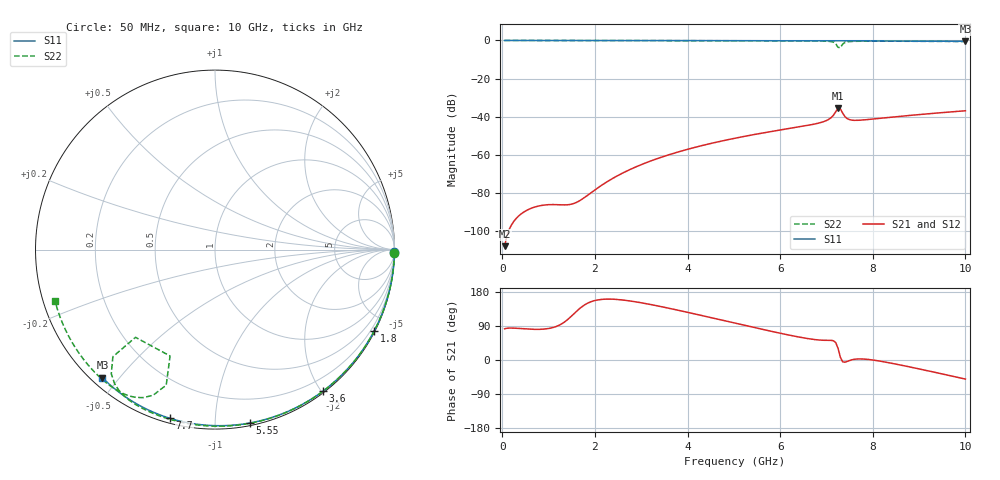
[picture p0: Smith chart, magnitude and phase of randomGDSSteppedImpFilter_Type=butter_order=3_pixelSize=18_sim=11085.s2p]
! freq	dB(S11)	phase(S11)	dB(S12)	phase(S12)
!  dB(S21)	phase(S21)	dB(S22)	phase(S22)
!S-par simulation data
#  GHz  S  DB  R 50
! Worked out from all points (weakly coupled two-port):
!   200 points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, 50 MHz to 10 GHz, reference 50 ohm
!   highest |S21| = -35.66 dB at 7.25 GHz (marker M1); lowest = -108.1 dB at 50 MHz (marker M2)
!   lowest |S11| = -0.4 dB at 10 GHz (marker M3), VSWR 39.24, Z = 1.53 - j22.6 ohm
!   |S11| at or under -10 dB: nowhere
!   |S22| runs from -3.8 to 0.0 dB; largest |S21 - S12| = 0
!   S11 on the Smith chart (normalised r, x): 50 MHz: open; 1.8 GHz: 0.04, -4.18; 3.6 GHz: 0.02, -2.02; 5.55 GHz: 0.02, -1.22; 7.7 GHz: 0.02, -0.77; 10 GHz: 0.03, -0.45
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0.05  -0.00 -0.8  -108.14 82.3  -108.14 82.3  -0.00 -0.9
0.85  -0.02 -12.8  -86.72 81.2  -86.72 81.2  -0.02 -15.7
1.75  -0.03 -26.2  -82.99 143.2  -82.99 143.2  -0.04 -32.0
1.8  -0.03 -26.9  -82.13 147.1  -82.13 147.1  -0.04 -32.9
1.95  -0.04 -29.1  -79.46 155.2  -79.46 155.2  -0.04 -35.5
2.7  -0.05 -40.0  -68.50 156.8  -68.50 156.8  -0.06 -48.7
3.4  -0.07 -49.9  -61.67 141.6  -61.67 141.6  -0.08 -60.8
3.6  -0.07 -52.6  -60.08 136.5  -60.08 136.5  -0.09 -64.1
5.05  -0.11 -72.2  -51.27 96.6  -51.27 96.6  -0.14 -88.0
5.55  -0.13 -78.6  -48.96 82.7  -48.96 82.7  -0.16 -96.0
6.7  -0.18 -93.0  -44.16 54.7  -44.16 54.7  -0.25 -115.3
6.95  -0.19 -96.0  -42.59 52.0  -42.59 52.0  -0.34 -121.1
7.1  -0.20 -97.8  -40.58 51.9  -40.58 51.9  -0.60 -126.8
7.2  -0.21 -99.0  -37.54 46.0  -37.54 46.0  -1.67 -133.6
7.25  -0.21 -99.6  -35.66 31.0  -35.66 31.0  -3.62 -132.2
7.3  -0.21 -100.2  -35.95 7.4  -35.95 7.4  -3.83 -112.9
7.35  -0.21 -100.8  -38.22 -4.7  -38.22 -4.7  -1.91 -109.8
7.4  -0.22 -101.4  -40.06 -5.8  -40.06 -5.8  -1.09 -113.0
7.5  -0.22 -102.6  -41.64 -1.2  -41.64 -1.2  -0.59 -118.1
7.7  -0.24 -105.0  -41.95 2.8  -41.95 2.8  -0.41 -124.0
8.35  -0.29 -112.6  -40.46 -7.3  -40.46 -7.3  -0.39 -135.9
10  -0.44 -131.3  -36.96 -50.3  -36.96 -50.3  -0.57 -162.2
